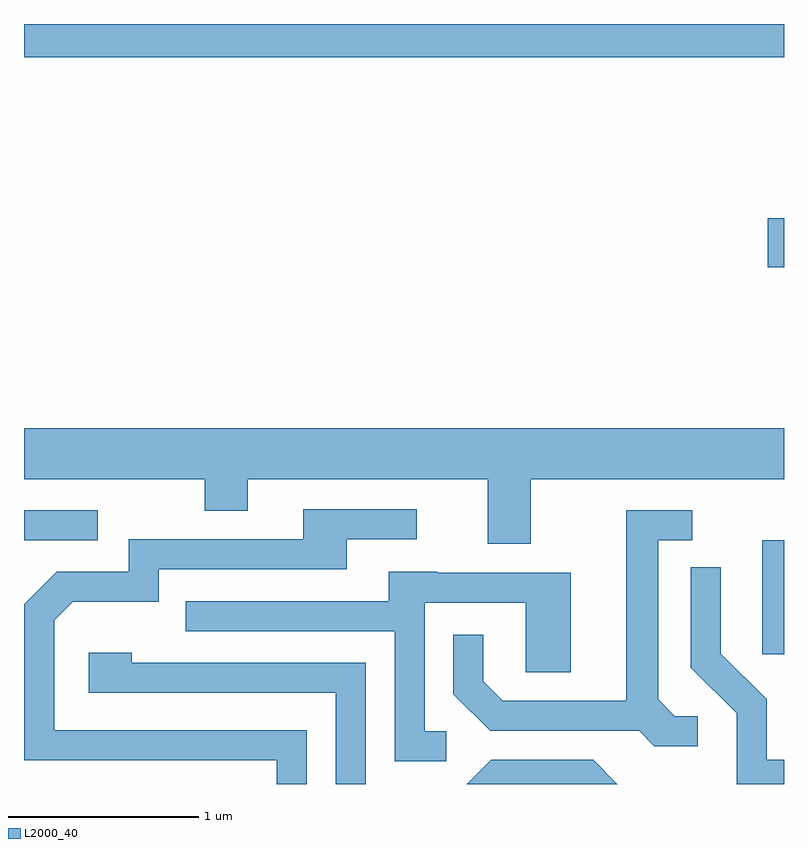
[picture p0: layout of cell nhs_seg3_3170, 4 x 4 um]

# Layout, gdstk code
import gdstk
lib = gdstk.Library(unit=1e-6, precision=1e-09)
def R(c, l, rs):  # rectangles x0, y0, x1, y1
    for r in rs: c.add(gdstk.rectangle(r[:2], r[2:], *l))
def P(c, l, *ps):  # polygons
    for p in ps: c.add(gdstk.Polygon(p, *l))
L2000_40 = (2000, 40)

nhs_seg3_3170 = lib.new_cell('nhs_seg3_3170')
R(nhs_seg3_3170, L2000_40, [(281.496,1200.576,281.611,1201.174), (277.611,1201.176,277.998,1201.334), (281.526,1202.611,281.611,1202.869), (277.611,1203.716,281.611,1203.892)])
P(nhs_seg3_3170, L2000_40, [(280.279,1201.496),(281.611,1201.496),(281.611,1201.764),(277.611,1201.764),(277.611,1201.496),(278.561,1201.496),(278.561,1201.331),(278.789,1201.331),(278.789,1201.496),(280.051,1201.496),(280.051,1201.156),(280.279,1201.156)],
  [(279.099,1200.174),(277.769,1200.174),(277.769,1200.754),(277.867,1200.851),(278.319,1200.851),(278.319,1201.021),(279.309,1201.021),(279.309,1201.181),(279.678,1201.181),(279.678,1201.339),(279.081,1201.339),(279.081,1201.179),(278.161,1201.179),(278.161,1201.009),(277.784,1201.009),(277.611,1200.837),(277.611,1200.016),(278.941,1200.016),(278.941,1199.892),(279.099,1199.892)],
  [(281.158,1200.249),(281.037,1200.249),(280.949,1200.337),(280.949,1201.176),(281.128,1201.176),(281.128,1201.334),(280.781,1201.334),(280.781,1200.329),(280.132,1200.329),(280.029,1200.432),(280.029,1200.678),(279.871,1200.678),(279.871,1200.364),(280.064,1200.171),(280.849,1200.171),(280.929,1200.091),(281.158,1200.091)],
  [(281.611,1200.019),(281.519,1200.019),(281.519,1200.337),(281.279,1200.577),(281.279,1201.033),(281.121,1201.033),(281.121,1200.504),(281.361,1200.264),(281.361,1199.892),(281.611,1199.892)],
  [(279.833,1200.169),(279.719,1200.169),(279.719,1200.846),(280.251,1200.846),(280.251,1200.481),(280.489,1200.481),(280.489,1201.004),(279.785,1201.004),(279.785,1201.009),(279.531,1201.009),(279.531,1200.854),(278.463,1200.854),(278.463,1200.696),(279.561,1200.696),(279.561,1200.011),(279.833,1200.011)],
  [(279.409,1200.529),(278.179,1200.529),(278.179,1200.584),(277.951,1200.584),(277.951,1200.371),(279.251,1200.371),(279.251,1199.892),(279.409,1199.892)],
  [(280.607,1200.019),(280.069,1200.019),(279.942,1199.892),(280.734,1199.892)])

lib.write_gds('nhs_seg3_3170.gds')
